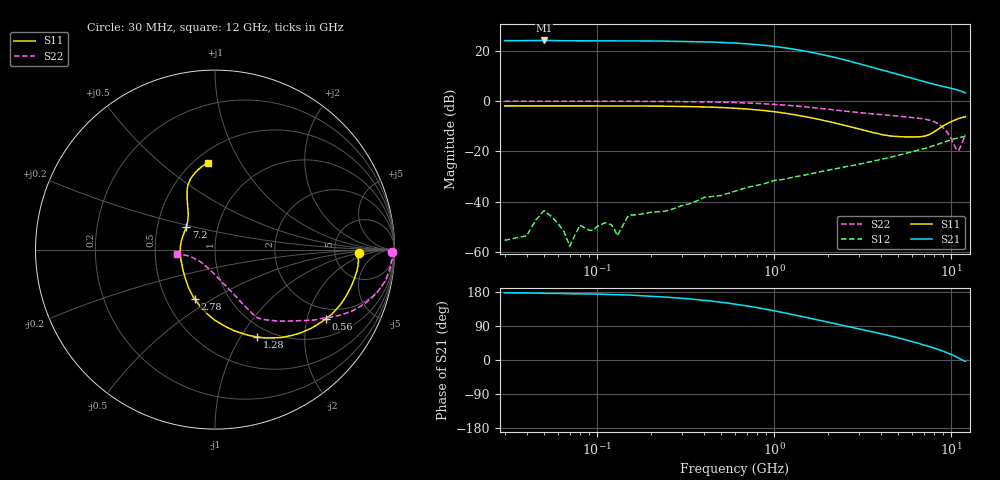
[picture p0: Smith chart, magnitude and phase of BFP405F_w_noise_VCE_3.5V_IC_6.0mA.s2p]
! Infineon Technologies  Discrete & RF Semiconductors
! BFP405F
! VCE =  3.5 V,  IC =  6.0 mA
! Common Emitter S-Parameters:  Nov 2015
# GHz  S  MA  R  50
!  f  S11  S21  S12  S22
! GHz  MAG  ANG  MAG  ANG  MAG  ANG  MAG  ANG
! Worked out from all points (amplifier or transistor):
!   239 points, 30 MHz to 12 GHz, reference 50 ohm
!   highest |S21| = 24.1 dB at 50 MHz (marker M1)
!   |S21| within 3 dB of that: start of sweep to 1.168 GHz
!   unconditionally stable (mu >= 1): 2.794 GHz to end of sweep
!   at 300 MHz: K = 0.15, MSG = 32.7 dB, |S12| = -41.6 dB
!   at 1.88 GHz: K = 0.72, MSG = 23.1 dB, |S12| = -27.9 dB
!   at 12 GHz: K = 1.44, MAG = 4.7 dB, |S12| = -14.1 dB
!   lowest NFmin = 1.38 dB at 450 MHz
!   S11 on the Smith chart (normalised r, x): 30 MHz: 8.98, -1.06; 560 MHz: 1.60, -2.62; 1.28 GHz: 0.86, -1.18; 2.78 GHz: 0.69, -0.42; 7.2 GHz: 0.70, +0.19; 12 GHz: 0.59, +0.74
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0.03  0.8022 -1.5  15.85 177.2  0.0017 55.6  0.9867 -0.7
0.04  0.8016 -2.1  15.84 177.0  0.0021 46.6  0.987 -0.8
0.05  0.8008 -3.2  15.99 176.1  0.0066 61.8  0.9928 -1.3
0.07  0.8002 -4.1  15.79 174.8  0.0013 25.4  0.9886 -1.6
0.085  0.8016 -5.0  15.75 174.4  0.003 66.8  0.9895 -2.0
0.11  0.8019 -6.5  15.69 173.3  0.0038 94.7  0.9862 -2.8
0.13  0.801 -7.7  15.66 172.3  0.0021 65.6  0.9885 -3.3
0.15  0.7982 -9.0  15.71 171.5  0.0053 73.0  0.9843 -3.7
0.24  0.7881 -14.1  15.5 166.2  0.0064 85.0  0.9804 -6.2
0.4  0.7643 -23.4  15.03 157.6  0.0121 80.3  0.966 -10.2
0.56  0.728 -31.9  14.34 149.5  0.0149 75.4  0.9397 -13.9
0.6  0.7182 -34.1  14.17 147.4  0.0161 75.5  0.9335 -14.8
0.7  0.6931 -39.1  13.76 142.7  0.0191 75.5  0.9155 -16.9
0.9  0.6395 -48.6  12.71 133.8  0.0233 70.3  0.8778 -20.6
1.28  0.5389 -64.4  10.79 119.6  0.0306 66.4  0.804 -26.4
1.64  0.4596 -77.4  9.214 109.0  0.0364 64.6  0.742 -30.6
2.2  0.365 -95.8  7.344 95.8  0.0447 61.5  0.6627 -36.4
2.78  0.2985 -112.0  5.955 85.5  0.0524 59.6  0.6058 -40.9
4.5  0.2031 -155.6  3.732 63.9  0.0754 55.8  0.5192 -49.8
7.2  0.2043 141.3  2.36 38.0  0.1159 48.1  0.4305 -58.9
10.8  0.4375 105.3  1.665 6.8  0.184 30.2  0.1048 -122.1
12  0.4834 94.5  1.45 -3.7  0.1975 23.5  0.2124 -173.3
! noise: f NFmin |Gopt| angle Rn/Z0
0.45  1.38  0.34  6  0.33
0.9  1.39  0.31  11  0.33
1.5  1.45  0.29  18  0.31
1.9  1.48  0.27  24  0.3
2.4  1.63  0.26  33  0.32
3  1.7  0.24  45  0.31
3.5  1.75  0.22  54  0.28
4.5  1.9  0.17  62  0.22
5.5  2.12  0.09  71  0.09
